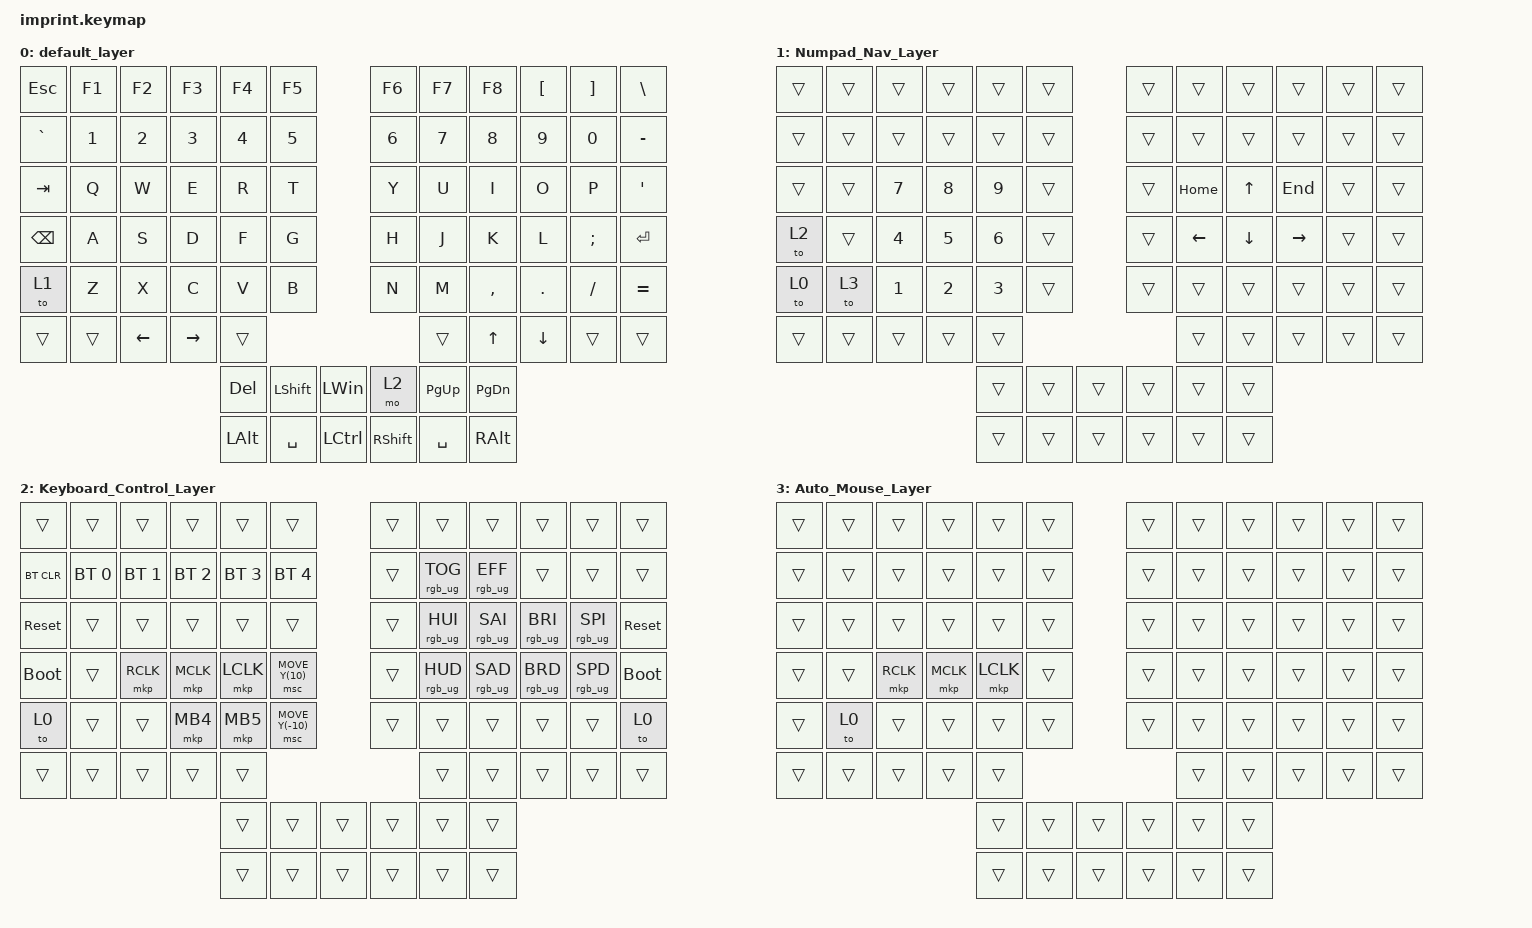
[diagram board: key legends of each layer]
#include <input/processors.dtsi>
#include <dt-bindings/zmk/input_transform.h>
#include <behaviors.dtsi>
#include <dt-bindings/zmk/bt.h>
#include <dt-bindings/zmk/keys.h>
#include <dt-bindings/zmk/pointing.h>
#include <dt-bindings/zmk/rgb.h>

/ {
    chosen { zmk,matrix-transform = &imprint_function_row_full_bottom_row; };

    keymap {
        compatible = "zmk,keymap";

        default_layer {
            bindings = <
&kp ESC        &kp F1  &kp F2          &kp F3           &kp F4        &kp F5                              &kp F6      &kp F7       &kp F8         &kp LEFT_BRACKET  &kp RIGHT_BRACKET  &kp BACKSLASH
&kp GRAVE      &kp N1  &kp N2          &kp N3           &kp N4        &kp N5                              &kp N6      &kp N7       &kp N8         &kp N9            &kp N0             &kp MINUS
&kp TAB        &kp Q   &kp W           &kp E            &kp R         &kp T                               &kp Y       &kp U        &kp I          &kp O             &kp P              &kp SINGLE_QUOTE
&kp BACKSPACE  &kp A   &kp S           &kp D            &kp F         &kp G                               &kp H       &kp J        &kp K          &kp L             &kp SEMI           &kp ENTER
&to 1          &kp Z   &kp X           &kp C            &kp V         &kp B                               &kp N       &kp M        &kp COMMA      &kp DOT           &kp FSLH           &kp EQUAL
&trans         &trans  &kp LEFT_ARROW  &kp RIGHT_ARROW  &trans                                                        &trans       &kp UP_ARROW   &kp DOWN_ARROW    &trans             &trans
                                                        &kp DELETE    &kp LEFT_SHIFT  &kp LEFT_WIN        &mo 2       &kp PAGE_UP  &kp PAGE_DOWN
                                                        &kp LEFT_ALT  &kp SPACE       &kp LEFT_CONTROL    &kp RSHIFT  &kp SPACE    &kp RIGHT_ALT
            >;
        };

        Numpad_Nav_Layer {
            bindings = <
&trans  &trans  &trans  &trans  &trans  &trans            &trans  &trans    &trans    &trans     &trans  &trans
&trans  &trans  &trans  &trans  &trans  &trans            &trans  &trans    &trans    &trans     &trans  &trans
&trans  &trans  &kp N7  &kp N8  &kp N9  &trans            &trans  &kp HOME  &kp UP    &kp END    &trans  &trans
&to 2   &trans  &kp N4  &kp N5  &kp N6  &trans            &trans  &kp LEFT  &kp DOWN  &kp RIGHT  &trans  &trans
&to 0   &to 3   &kp N1  &kp N2  &kp N3  &trans            &trans  &trans    &trans    &trans     &trans  &trans
&trans  &trans  &trans  &trans  &trans                            &trans    &trans    &trans     &trans  &trans
                                &trans  &trans  &trans    &trans  &trans    &trans
                                &trans  &trans  &trans    &trans  &trans    &trans
            >;
        };

        Keyboard_Control_Layer {
            bindings = <
&trans       &trans        &trans        &trans        &trans        &trans                      &trans  &trans           &trans           &trans           &trans           &trans
&bt BT_CLR   &bt BT_SEL 0  &bt BT_SEL 1  &bt BT_SEL 2  &bt BT_SEL 3  &bt BT_SEL 4                &trans  &rgb_ug RGB_TOG  &rgb_ug RGB_EFF  &trans           &trans           &trans
&sys_reset   &trans        &trans        &trans        &trans        &trans                      &trans  &rgb_ug RGB_HUI  &rgb_ug RGB_SAI  &rgb_ug RGB_BRI  &rgb_ug RGB_SPI  &sys_reset
&bootloader  &trans        &mkp RCLK     &mkp MCLK     &mkp LCLK     &msc MOVE_Y(10)             &trans  &rgb_ug RGB_HUD  &rgb_ug RGB_SAD  &rgb_ug RGB_BRD  &rgb_ug RGB_SPD  &bootloader
&to 0        &trans        &trans        &mkp MB4      &mkp MB5      &msc MOVE_Y(-10)            &trans  &trans           &trans           &trans           &trans           &to 0
&trans       &trans        &trans        &trans        &trans                                            &trans           &trans           &trans           &trans           &trans
                                                       &trans        &trans            &trans    &trans  &trans           &trans
                                                       &trans        &trans            &trans    &trans  &trans           &trans
            >;
        };

        Auto_Mouse_Layer {
            bindings = <
&trans  &trans  &trans     &trans     &trans     &trans            &trans  &trans  &trans  &trans  &trans  &trans
&trans  &trans  &trans     &trans     &trans     &trans            &trans  &trans  &trans  &trans  &trans  &trans
&trans  &trans  &trans     &trans     &trans     &trans            &trans  &trans  &trans  &trans  &trans  &trans
&trans  &trans  &mkp RCLK  &mkp MCLK  &mkp LCLK  &trans            &trans  &trans  &trans  &trans  &trans  &trans
&trans  &to 0   &trans     &trans     &trans     &trans            &trans  &trans  &trans  &trans  &trans  &trans
&trans  &trans  &trans     &trans     &trans                               &trans  &trans  &trans  &trans  &trans
                                      &trans     &trans  &trans    &trans  &trans  &trans
                                      &trans     &trans  &trans    &trans  &trans  &trans
            >;
        };
    };
};

// right hand trackball configuration
//&trackball_peripheral_listener {
//    input-processors =
//    activate layer 3 within 500ms of the trackball moving
//    <&zip_temp_layer 3 500>;
//};
//left hand trackball configuration

&trackball_central_listener {
    input-processors =
        // multiply sensitivity by 1, divide by 3 (make it slower for scrolling),,,,,,,,,,,,,,,
        <&zip_xy_scaler 1 3>,
        // make this trackball output scrolling events by default instead of cursor movement,,,,,,,,,,,,,,,
        <&zip_xy_to_scroll_mapper>,
        // invert vertical scrolling so that the view moves in the same direction as the top of the trackball.,,,,,,,,,,,,,,,
        <&zip_scroll_transform INPUT_TRANSFORM_Y_INVERT>,
        <&zip_temp_layer 3 500>;
};
